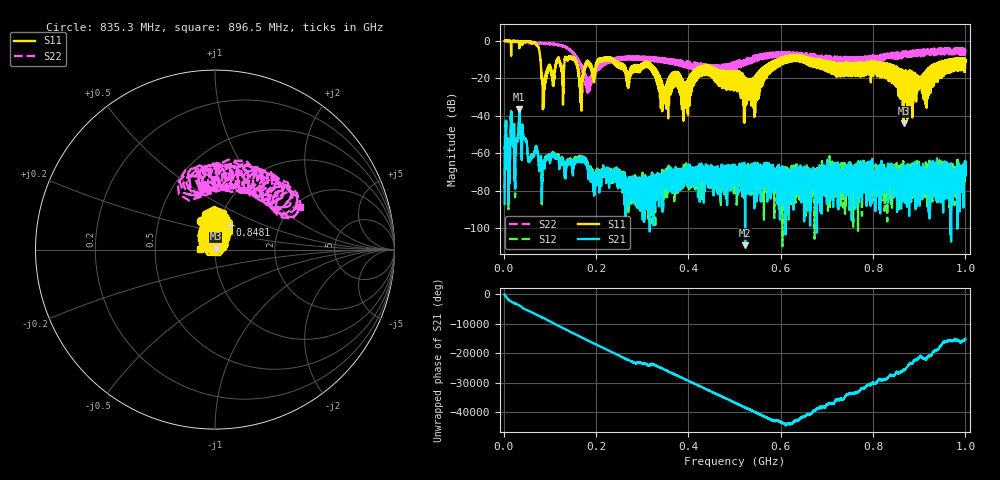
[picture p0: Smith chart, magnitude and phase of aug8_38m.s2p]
!Keysight Technologies N9923A: A.12.45
!Date: Friday, 08 August 2025 17:58:49
!Timezone: (UTC+08:00) Kuala Lumpur, Singapore
!Model: N9923A
!Serial: MY61181427
!GPS Latitude:
!GPS Longitude:
!GPS TimeStamp: 0001-01-01 00:00:00Z
!GPS Seconds Since Last Read: 0
!CHECKSUM:0136428794
!Correction: S11(ON U)S21(ON U)S12(ON U)S22(ON U)
!S2P File: Measurements:S11,S21,S12,S22:
# Hz S DB R 50
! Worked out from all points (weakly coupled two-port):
!   4001 points, 2 MHz to 1 GHz, reference 50 ohm
!   highest |S21| = -36.63 dB at 33.94 MHz (marker M1); lowest = -109.1 dB at 523 MHz (marker M2)
!   lowest |S11| = -44.2 dB at 866.3 MHz (marker M3), VSWR 1.01, Z = 50.3 + j0.555 ohm
!   |S11| at or under -10 dB: 155.2 MHz to 205.8 MHz (50.62 MHz wide, 28 % of centre); 236.1 MHz to 594.5 MHz (358.4 MHz wide, 86.3 % of centre); 684.1 MHz to 964.1 MHz (279.9 MHz wide, 34 % of centre) (the widest 3 of 104)
!   |S22| runs from -28.0 to 0.1 dB; largest |S21 - S12| = 0.0011
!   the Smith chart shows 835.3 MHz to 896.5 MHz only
!   S11 on the Smith chart (normalised r, x): 835.3 MHz: 0.82, +0.27; 848.1 MHz: 1.13, +0.32; 896.5 MHz: 0.84, +0.00
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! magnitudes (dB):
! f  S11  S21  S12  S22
! 2 MHz  -0.1  -87.1  -79.0  0.0
! 33.94 MHz  -4.1  -36.6  -36.6  -0.8
! 56.39 MHz  -0.5  -63.5  -62.9  -1.5
! 72.11 MHz  -2.3  -58.4  -58.9  -1.2
! 86.83 MHz  -35.7  -64.5  -64.7  -1.7
! 145.2 MHz  -8.4  -63.5  -63.0  -5.6
! 168.4 MHz  -35.7  -63.4  -62.2  -14.0
! 183.6 MHz  -11.3  -69.9  -69.5  -28.0
! 222.6 MHz  -9.0  -69.6  -71.1  -10.9
! 334.8 MHz  -18.9  -71.4  -76.1  -11.4
! 348.3 MHz  -30.2  -72.1  -80.0  -11.8
! 430.1 MHz  -13.5  -73.2  -72.0  -13.5
! 501 MHz  -16.1  -73.2  -67.5  -15.8
! 523 MHz  -19.9  -109.1  -75.0  -12.9
! 604.5 MHz  -8.9  -80.5  -73.5  -6.4
! 667.4 MHz  -10.1  -76.4  -69.6  -8.3
! 833.8 MHz  -19.0  -69.2  -83.1  -8.0
! 835.3 MHz  -15.1  -73.2  -74.1  -9.0
! 848.1 MHz  -16.0  -72.5  -80.6  -7.7
! 866.3 MHz  -44.2  -68.5  -83.9  -6.3
! 896.5 MHz  -21.5  -78.6  -75.2  -5.5
! 1 GHz  -11.3  -71.8  -67.5  -6.1
